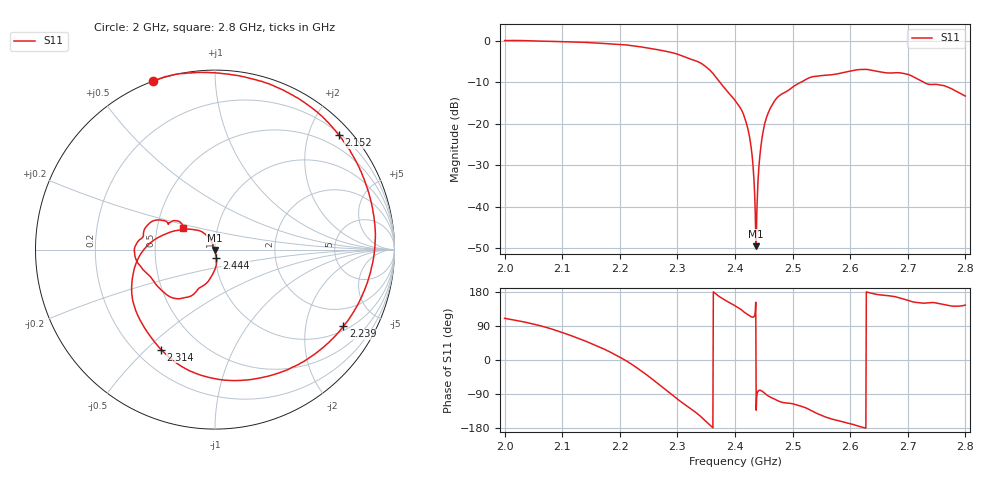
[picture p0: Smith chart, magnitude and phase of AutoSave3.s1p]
!Agilent N9923A: A.05.17
!Date: Sunday, 01 January 2006 12:14:27
!Model: N9923A
!Serial: MY50371189
!CHECKSUM:1445105793
!Correction: S11(ON U)
!S1P File: Measurement: S11:
# Hz S RI R 50
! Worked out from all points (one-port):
!   1001 points, 2 GHz to 2.8 GHz, reference 50 ohm
!   lowest |S11| = -49.5 dB at 2.437 GHz (marker M1), VSWR 1.01, Z = 49.8 - j0.245 ohm
!   |S11| at or under -10 dB: 2.373 GHz to 2.515 GHz (141.8 MHz wide, 5.8 % of centre); 2.727 GHz to end of sweep
!   S11 on the Smith chart (normalised r, x): 2 GHz: -0.00, +0.70; 2.152 GHz: 0.23, +2.54; 2.239 GHz: 1.16, -3.24; 2.314 GHz: 0.30, -0.56; 2.444 GHz: 1.01, -0.09; 2.8 GHz: 0.68, +0.18
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2e9  -0.3433 0.9394
2.0504e9  -0.0819 0.9876
2.1e9  0.2919 0.9261
2.152e9  0.6913 0.6369
2.2e9  0.8918 0.1189
2.22e9  0.8561 -0.1609
2.2392e9  0.7158 -0.4276
2.2704e9  0.2959 -0.7053
2.3e9  -0.1551 -0.6685
2.3136e9  -0.3006 -0.5569
2.3488e9  -0.4606 -0.161
2.3704e9  -0.3313 0.0588
2.4e9  -0.1519 0.1146
2.4136e9  -0.0851 0.1045
2.4232e9  -0.0391 0.0713
2.4296e9  -0.0164 0.0385
2.4344e9  -0.00593 0.011
2.4368e9  -0.00225 -0.00246
2.4392e9  0.00135 -0.0157
2.444e9  0.00814 -0.046
2.4512e9  0.00455 -0.0966
2.4616e9  -0.022 -0.1528
2.4744e9  -0.0635 -0.1998
2.5e9  -0.1175 -0.2477
2.5296e9  -0.2362 -0.2691
2.6e9  -0.4194 -0.0876
2.7e9  -0.3617 0.1501
2.8e9  -0.1759 0.1229
